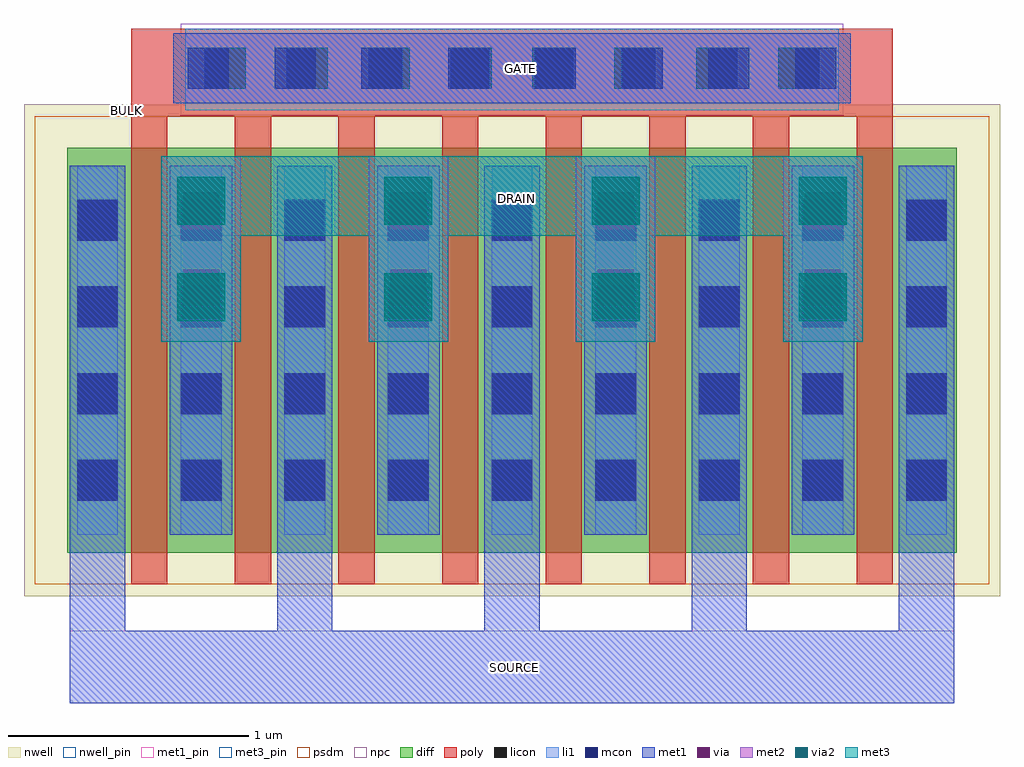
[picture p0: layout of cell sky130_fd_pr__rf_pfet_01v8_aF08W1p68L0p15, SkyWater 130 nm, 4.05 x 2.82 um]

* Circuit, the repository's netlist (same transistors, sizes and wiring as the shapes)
* Copyright 2020 The SkyWater PDK Authors
*
* Licensed under the Apache License, Version 2.0 (the "License");
* you may not use this file except in compliance with the License.
* You may obtain a copy of the License at
*
*     https://www.apache.org/licenses/LICENSE-2.0
*
* Unless required by applicable law or agreed to in writing, software
* distributed under the License is distributed on an "AS IS" BASIS,
* WITHOUT WARRANTIES OR CONDITIONS OF ANY KIND, either express or implied.
* See the License for the specific language governing permissions and
* limitations under the License.
*
* SPDX-License-Identifier: Apache-2.0


.subckt sky130_fd_pr__rf_pfet_01v8_aF08W1p68L0p15 BULK DRAIN GATE SOURCE
X0 SOURCE GATE DRAIN BULK sky130_fd_pr__pfet_01v8 w=1.68e+06u l=150000u
X1 DRAIN GATE SOURCE BULK sky130_fd_pr__pfet_01v8 w=1.68e+06u l=150000u
X2 SOURCE GATE DRAIN BULK sky130_fd_pr__pfet_01v8 w=1.68e+06u l=150000u
X3 SOURCE GATE DRAIN BULK sky130_fd_pr__pfet_01v8 w=1.68e+06u l=150000u
X4 DRAIN GATE SOURCE BULK sky130_fd_pr__pfet_01v8 w=1.68e+06u l=150000u
X5 DRAIN GATE SOURCE BULK sky130_fd_pr__pfet_01v8 w=1.68e+06u l=150000u
X6 SOURCE GATE DRAIN BULK sky130_fd_pr__pfet_01v8 w=1.68e+06u l=150000u
X7 DRAIN GATE SOURCE BULK sky130_fd_pr__pfet_01v8 w=1.68e+06u l=150000u
.ends

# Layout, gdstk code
import gdstk
lib = gdstk.Library(unit=1e-6, precision=1e-09)
def R(c, l, rs):  # rectangles x0, y0, x1, y1
    for r in rs: c.add(gdstk.rectangle(r[:2], r[2:], *l))
def A(c, l, x, y, w, h, nx, ny, dx, dy):  # array of equal rectangles
    R(c, l, [(x+i*dx, y+j*dy, x+i*dx+w, y+j*dy+h) for i in range(nx) for j in range(ny)])
nwell_pin = (64, 16)
nwell = (64, 20)
diff = (65, 20)
poly = (66, 20)
licon = (66, 44)
li1 = (67, 20)
mcon = (67, 44)
met1_pin = (68, 16)
met1 = (68, 20)
via = (68, 44)
met2 = (69, 20)
via2 = (69, 44)
met3_pin = (70, 16)
met3 = (70, 20)
psdm = (94, 20)
npc = (95, 20)

sky130_fd_pr__rf_pfet_01 = lib.new_cell('sky130_fd_pr__rf_pfet_01v8_aF08W1p68L0p15')
R(sky130_fd_pr__rf_pfet_01, nwell_pin, [(0.415,2,0.43,2.025)])
R(sky130_fd_pr__rf_pfet_01, nwell, [(0,0,4.05,2.04)])
A(sky130_fd_pr__rf_pfet_01, diff, 0.445, 0.18, 0.15, 1.68, 8, 1, 0.43, 0)
A(sky130_fd_pr__rf_pfet_01, diff, 1.025, 0.18, 0.28, 1.68, 3, 1, 0.43, 0)
A(sky130_fd_pr__rf_pfet_01, diff, 1.055, 0.18, 0.25, 1.68, 3, 1, 0.86, 0)
A(sky130_fd_pr__rf_pfet_01, diff, 1.885, 0.18, 0.28, 1.68, 3, 1, 0.43, 0)
R(sky130_fd_pr__rf_pfet_01, diff, [(0.18,0.18,0.445,1.86), (0.21,0.18,0.445,1.86), (0.595,0.18,0.875,1.86), (1.025,0.18,1.305,1.86), (2.745,0.18,3.025,1.86), (3.175,0.18,3.455,1.86), (3.605,0.18,3.84,1.86), (3.605,0.18,3.87,1.86), (3.605,0.18,3.87,1.86), (3.635,0.18,3.87,1.86)])
A(sky130_fd_pr__rf_pfet_01, poly, 0.445, 0.05, 0.15, 1.94, 8, 1, 0.43, 0)
A(sky130_fd_pr__rf_pfet_01, poly, 0.445, 0.05, 0.15, 0.13, 8, 2, 0.43, 1.81)
R(sky130_fd_pr__rf_pfet_01, poly, [(0.445,1.99,3.605,2.355), (0.67,2.015,3.38,2.355)])
A(sky130_fd_pr__rf_pfet_01, licon, 0.22, 0.395, 0.17, 0.17, 9, 4, 0.43, 0.36)
A(sky130_fd_pr__rf_pfet_01, licon, 0.75, 2.105, 0.17, 0.17, 8, 1, 0.34, 0)
A(sky130_fd_pr__rf_pfet_01, li1, 0.22, 0.255, 0.17, 1.53, 9, 1, 0.43, 0)
R(sky130_fd_pr__rf_pfet_01, li1, [(0.67,2.015,3.38,2.355), (0.68,2.105,3.37,2.275)])
A(sky130_fd_pr__rf_pfet_01, mcon, 0.22, 0.395, 0.17, 0.17, 9, 4, 0.43, 0.36)
A(sky130_fd_pr__rf_pfet_01, mcon, 0.68, 2.105, 0.17, 0.17, 8, 1, 0.36, 0)
R(sky130_fd_pr__rf_pfet_01, met1_pin, [(0.19,-0.445,3.86,-0.145), (0.62,2.045,3.43,2.335)])
R(sky130_fd_pr__rf_pfet_01, met1, [(0.62,2.045,3.43,2.335)])
A(sky130_fd_pr__rf_pfet_01, via, 0.66, 1.205, 0.15, 0.15, 4, 2, 0.86, 0.32)
A(sky130_fd_pr__rf_pfet_01, met2, 0.57, 1.055, 0.33, 0.77, 4, 1, 0.86, 0)
A(sky130_fd_pr__rf_pfet_01, met2, 0.605, 1.12, 0.26, 0.64, 4, 1, 0.86, 0)
A(sky130_fd_pr__rf_pfet_01, via2, 0.635, 1.14, 0.2, 0.2, 4, 2, 0.86, 0.4)
R(sky130_fd_pr__rf_pfet_01, met3_pin, [(0.57,1.495,3.48,1.825)])
A(sky130_fd_pr__rf_pfet_01, met3, 0.57, 1.055, 0.33, 0.77, 4, 1, 0.86, 0)
A(sky130_fd_pr__rf_pfet_01, psdm, 0.465, 0.05, 0.54, 1.94, 7, 1, 0.43, 0)
A(sky130_fd_pr__rf_pfet_01, psdm, 0.625, 0.05, 0.4, 1.94, 6, 1, 0.43, 0)
R(sky130_fd_pr__rf_pfet_01, psdm, [(0.045,0.05,0.575,1.99), (0.21,0.05,0.595,1.99), (3.205,0.05,3.84,1.99), (3.475,0.05,4.005,1.99)])
R(sky130_fd_pr__rf_pfet_01, npc, [(0.65,1.995,3.4,2.375)])
sky130_fd_pr__rf_pfet_01.add(gdstk.FlexPath([(0.57,1.66),(3.48,1.66)], 0.33, ends="flush", simple_path=True, layer=70, datatype=20))  # met3
sky130_fd_pr__rf_pfet_01.add(gdstk.FlexPath([(2.885,1.785),(2.885,-0.445)], 0.23, ends="flush", simple_path=True, layer=68, datatype=20))  # met1
sky130_fd_pr__rf_pfet_01.add(gdstk.FlexPath([(3.745,1.785),(3.745,-0.445)], 0.23, ends="flush", simple_path=True, layer=68, datatype=20))  # met1
sky130_fd_pr__rf_pfet_01.add(gdstk.FlexPath([(2.025,1.785),(2.025,-0.445)], 0.23, ends="flush", simple_path=True, layer=68, datatype=20))  # met1
sky130_fd_pr__rf_pfet_01.add(gdstk.FlexPath([(0.19,-0.295),(3.86,-0.295)], 0.3, ends="flush", simple_path=True, layer=68, datatype=20))  # met1
sky130_fd_pr__rf_pfet_01.add(gdstk.FlexPath([(1.165,1.785),(1.165,-0.445)], 0.23, ends="flush", simple_path=True, layer=68, datatype=20))  # met1
sky130_fd_pr__rf_pfet_01.add(gdstk.FlexPath([(3.315,1.785),(3.315,0.255)], 0.26, ends="flush", simple_path=True, layer=68, datatype=20))  # met1
sky130_fd_pr__rf_pfet_01.add(gdstk.FlexPath([(2.455,1.785),(2.455,0.255)], 0.26, ends="flush", simple_path=True, layer=68, datatype=20))  # met1
sky130_fd_pr__rf_pfet_01.add(gdstk.FlexPath([(1.595,1.785),(1.595,0.255)], 0.26, ends="flush", simple_path=True, layer=68, datatype=20))  # met1
sky130_fd_pr__rf_pfet_01.add(gdstk.FlexPath([(0.735,1.785),(0.735,0.255)], 0.26, ends="flush", simple_path=True, layer=68, datatype=20))  # met1
sky130_fd_pr__rf_pfet_01.add(gdstk.FlexPath([(0.305,1.785),(0.305,-0.445)], 0.23, ends="flush", simple_path=True, layer=68, datatype=20))  # met1
sky130_fd_pr__rf_pfet_01.add(gdstk.Label('DRAIN', (2.045,1.65), layer=70, texttype=16))
sky130_fd_pr__rf_pfet_01.add(gdstk.Label('GATE', (2.06,2.19), layer=68, texttype=16))
sky130_fd_pr__rf_pfet_01.add(gdstk.Label('SOURCE', (2.035,-0.295), layer=68, texttype=16))
sky130_fd_pr__rf_pfet_01.add(gdstk.Label('BULK', (0.425,2.015), layer=64, texttype=5))

lib.write_gds('sky130_fd_pr__rf_pfet_01v8_aF08W1p68L0p15.gds')
